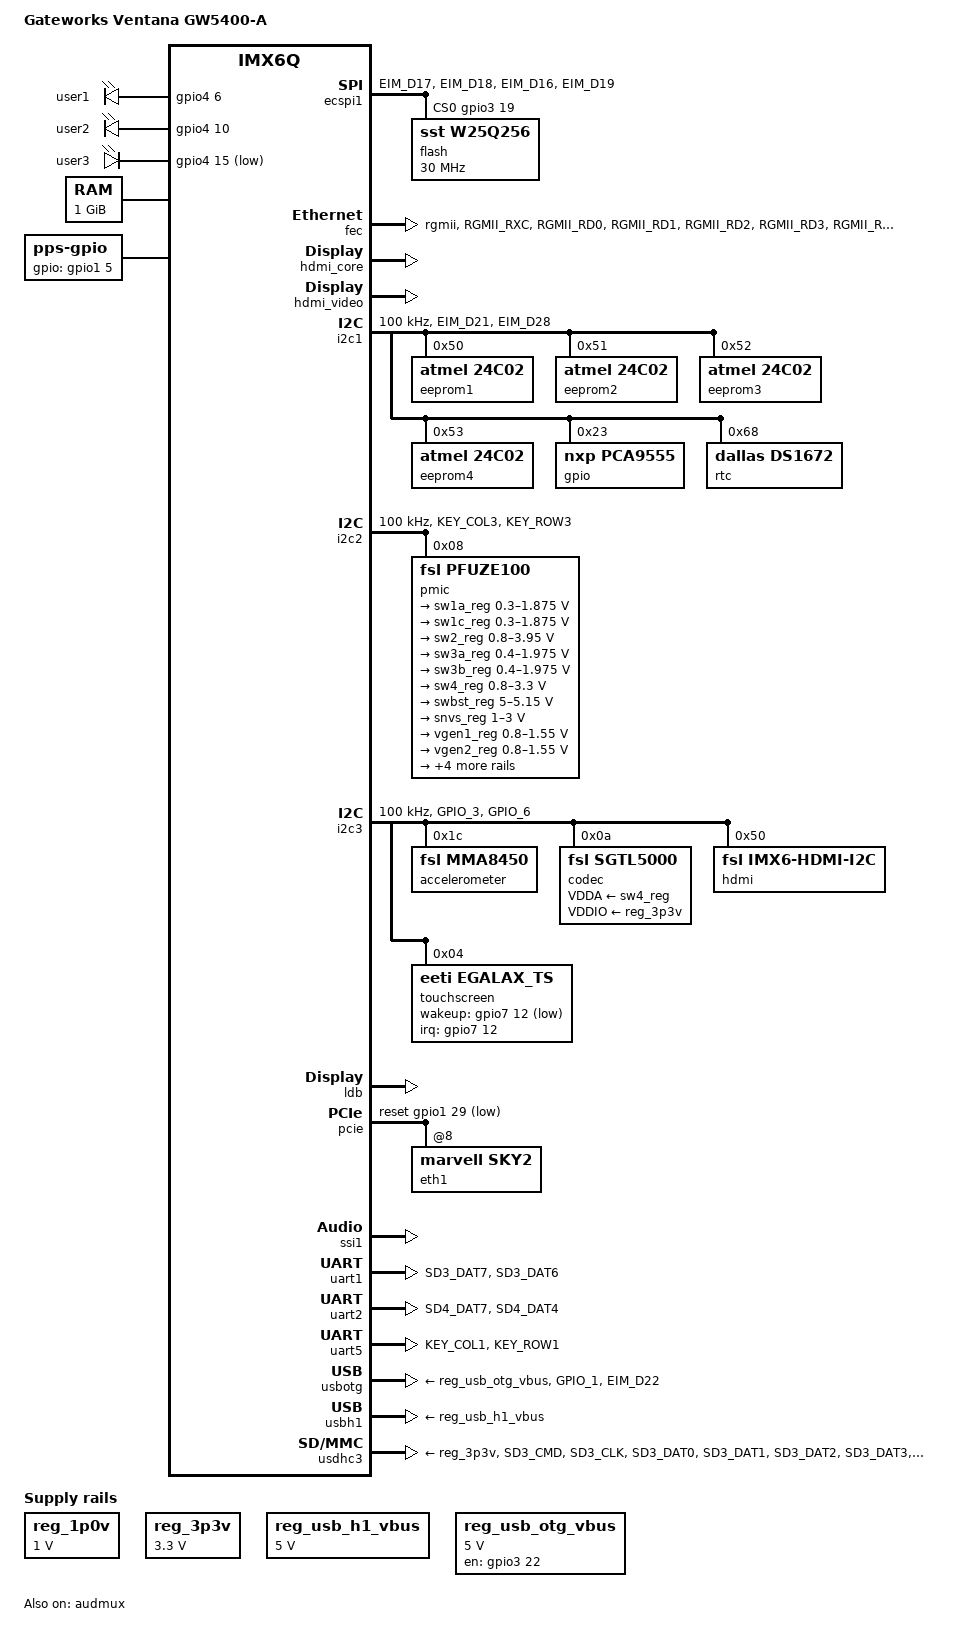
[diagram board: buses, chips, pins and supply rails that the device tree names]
/*
 * Copyright 2013 Gateworks Corporation
 *
 * Copyright 2015 Freescale Semiconductor, Inc. All Rights Reserved.
 *
 * The code contained herein is licensed under the GNU General Public
 * License. You may obtain a copy of the GNU General Public License
 * Version 2 or later at the following locations:
 *
 * http://www.opensource.org/licenses/gpl-license.html
 * http://www.gnu.org/copyleft/gpl.html
 */

/dts-v1/;
#include <dt-bindings/gpio/gpio.h>
#include "imx6q.dtsi"

/ {
	model = "Gateworks Ventana GW5400-A";
	compatible = "gw,imx6q-gw5400-a", "gw,ventana", "fsl,imx6q";

	/* these are used by bootloader for disabling nodes */
	aliases {
		ethernet1 = &eth1;
		i2c0 = &i2c1;
		i2c1 = &i2c2;
		i2c2 = &i2c3;
		led0 = &led0;
		led1 = &led1;
		led2 = &led2;
		ssi0 = &ssi1;
		spi0 = &ecspi1;
		usb0 = &usbh1;
		usb1 = &usbotg;
		mxcfb0 = &mxcfb1;
	};

	chosen {
		bootargs = "console=ttymxc1,115200";
	};

	leds {
		compatible = "gpio-leds";
		pinctrl-names = "default";
		pinctrl-0 = <&pinctrl_gpio_leds>;

		led0: user1 {
			label = "user1";
			gpios = <&gpio4 6 GPIO_ACTIVE_HIGH>; /* 102 -> MX6_PANLEDG */
			default-state = "on";
			linux,default-trigger = "heartbeat";
		};

		led1: user2 {
			label = "user2";
			gpios = <&gpio4 10 GPIO_ACTIVE_HIGH>; /* 106 -> MX6_PANLEDR */
			default-state = "off";
		};

		led2: user3 {
			label = "user3";
			gpios = <&gpio4 15 GPIO_ACTIVE_LOW>; /* 111 -> MX6_LOCLED# */
			default-state = "off";
		};
	};

	memory {
		reg = <0x10000000 0x40000000>;
	};

	pps {
		compatible = "pps-gpio";
		pinctrl-names = "default";
		pinctrl-0 = <&pinctrl_gpio_leds>;
		gpios = <&gpio1 5 GPIO_ACTIVE_HIGH>;
		status = "okay";
	};

	regulators {
		compatible = "simple-bus";
		#address-cells = <1>;
		#size-cells = <0>;

		reg_1p0v: regulator@0 {
			compatible = "regulator-fixed";
			reg = <0>;
			regulator-name = "1P0V";
			regulator-min-microvolt = <1000000>;
			regulator-max-microvolt = <1000000>;
			regulator-always-on;
		};

		reg_3p3v: regulator@1 {
			compatible = "regulator-fixed";
			reg = <1>;
			regulator-name = "3P3V";
			regulator-min-microvolt = <3300000>;
			regulator-max-microvolt = <3300000>;
			regulator-always-on;
		};

		reg_usb_h1_vbus: regulator@2 {
			compatible = "regulator-fixed";
			reg = <2>;
			regulator-name = "usb_h1_vbus";
			regulator-min-microvolt = <5000000>;
			regulator-max-microvolt = <5000000>;
			regulator-always-on;
		};

		reg_usb_otg_vbus: regulator@3 {
			compatible = "regulator-fixed";
			reg = <3>;
			regulator-name = "usb_otg_vbus";
			regulator-min-microvolt = <5000000>;
			regulator-max-microvolt = <5000000>;
			gpio = <&gpio3 22 GPIO_ACTIVE_HIGH>;
			enable-active-high;
		};
	};

	sound {
		compatible = "fsl,imx6q-ventana-sgtl5000",
			     "fsl,imx-audio-sgtl5000";
		model = "sgtl5000-audio";
		ssi-controller = <&ssi1>;
		audio-codec = <&codec>;
		audio-routing =
			"MIC_IN", "Mic Jack",
			"Mic Jack", "Mic Bias",
			"Headphone Jack", "HP_OUT";
		mux-int-port = <1>;
		mux-ext-port = <4>;
	};

	mxcfb1: fb@0 {
		compatible = "fsl,mxc_sdc_fb";
		disp_dev = "hdmi";
		interface_pix_fmt = "RGB24";
		mode_str ="1920x1080M@60";
		default_bpp = <24>;
		int_clk = <0>;
		late_init = <0>;
		status = "okay";
	};
};

&audmux {
	pinctrl-names = "default";
	pinctrl-0 = <&pinctrl_audmux>;
	status = "okay";
};

&ecspi1 {
	fsl,spi-num-chipselects = <1>;
	cs-gpios = <&gpio3 19 GPIO_ACTIVE_HIGH>;
	pinctrl-names = "default";
	pinctrl-0 = <&pinctrl_ecspi1>;
	status = "okay";

	flash: m25p80@0 {
		compatible = "sst,w25q256";
		spi-max-frequency = <30000000>;
		reg = <0>;
	};
};

&fec {
	pinctrl-names = "default";
	pinctrl-0 = <&pinctrl_enet>;
	phy-mode = "rgmii";
	phy-reset-gpios = <&gpio1 30 GPIO_ACTIVE_HIGH>;
	status = "okay";
};

&hdmi_core {
	ipu_id = <0>;
	disp_id = <0>;
	status = "okay";
};

&hdmi_video {
	fsl,phy_reg_vlev = <0x0294>;
	fsl,phy_reg_cksymtx = <0x800d>;
	status = "okay";
};

&i2c1 {
	clock-frequency = <100000>;
	pinctrl-names = "default";
	pinctrl-0 = <&pinctrl_i2c1>;
	status = "okay";

	eeprom1: eeprom@50 {
		compatible = "atmel,24c02";
		reg = <0x50>;
		pagesize = <16>;
	};

	eeprom2: eeprom@51 {
		compatible = "atmel,24c02";
		reg = <0x51>;
		pagesize = <16>;
	};

	eeprom3: eeprom@52 {
		compatible = "atmel,24c02";
		reg = <0x52>;
		pagesize = <16>;
	};

	eeprom4: eeprom@53 {
		compatible = "atmel,24c02";
		reg = <0x53>;
		pagesize = <16>;
	};

	gpio: pca9555@23 {
		compatible = "nxp,pca9555";
		reg = <0x23>;
		gpio-controller;
		#gpio-cells = <2>;
	};

	rtc: ds1672@68 {
		compatible = "dallas,ds1672";
		reg = <0x68>;
	};
};

&i2c2 {
	clock-frequency = <100000>;
	pinctrl-names = "default";
	pinctrl-0 = <&pinctrl_i2c2>;
	status = "okay";

	pmic: pfuze100@08 {
		compatible = "fsl,pfuze100";
		reg = <0x08>;

		regulators {
			sw1a_reg: sw1ab {
				regulator-min-microvolt = <300000>;
				regulator-max-microvolt = <1875000>;
				regulator-boot-on;
				regulator-always-on;
				regulator-ramp-delay = <6250>;
			};

			sw1c_reg: sw1c {
				regulator-min-microvolt = <300000>;
				regulator-max-microvolt = <1875000>;
				regulator-boot-on;
				regulator-always-on;
				regulator-ramp-delay = <6250>;
			};

			sw2_reg: sw2 {
				regulator-min-microvolt = <800000>;
				regulator-max-microvolt = <3950000>;
				regulator-boot-on;
				regulator-always-on;
			};

			sw3a_reg: sw3a {
				regulator-min-microvolt = <400000>;
				regulator-max-microvolt = <1975000>;
				regulator-boot-on;
				regulator-always-on;
			};

			sw3b_reg: sw3b {
				regulator-min-microvolt = <400000>;
				regulator-max-microvolt = <1975000>;
				regulator-boot-on;
				regulator-always-on;
			};

			sw4_reg: sw4 {
				regulator-min-microvolt = <800000>;
				regulator-max-microvolt = <3300000>;
			};

			swbst_reg: swbst {
				regulator-min-microvolt = <5000000>;
				regulator-max-microvolt = <5150000>;
			};

			snvs_reg: vsnvs {
				regulator-min-microvolt = <1000000>;
				regulator-max-microvolt = <3000000>;
				regulator-boot-on;
				regulator-always-on;
			};

			vref_reg: vrefddr {
				regulator-boot-on;
				regulator-always-on;
			};

			vgen1_reg: vgen1 {
				regulator-min-microvolt = <800000>;
				regulator-max-microvolt = <1550000>;
			};

			vgen2_reg: vgen2 {
				regulator-min-microvolt = <800000>;
				regulator-max-microvolt = <1550000>;
			};

			vgen3_reg: vgen3 {
				regulator-min-microvolt = <1800000>;
				regulator-max-microvolt = <3300000>;
			};

			vgen4_reg: vgen4 {
				regulator-min-microvolt = <1800000>;
				regulator-max-microvolt = <3300000>;
				regulator-always-on;
			};

			vgen5_reg: vgen5 {
				regulator-min-microvolt = <1800000>;
				regulator-max-microvolt = <3300000>;
				regulator-always-on;
			};

			vgen6_reg: vgen6 {
				regulator-min-microvolt = <1800000>;
				regulator-max-microvolt = <3300000>;
				regulator-always-on;
			};
		};
	};
};

&i2c3 {
	clock-frequency = <100000>;
	pinctrl-names = "default";
	pinctrl-0 = <&pinctrl_i2c3>;
	status = "okay";

	accelerometer: mma8450@1c {
		compatible = "fsl,mma8450";
		reg = <0x1c>;
	};

	codec: sgtl5000@0a {
		compatible = "fsl,sgtl5000";
		reg = <0x0a>;
		clocks = <&clks 201>;
		VDDA-supply = <&sw4_reg>;
		VDDIO-supply = <&reg_3p3v>;
	};

	hdmi: edid@50 {
		compatible = "fsl,imx6-hdmi-i2c";
		reg = <0x50>;
	};

	touchscreen: egalax_ts@04 {
		compatible = "eeti,egalax_ts";
		reg = <0x04>;
		interrupt-parent = <&gpio7>;
		interrupts = <12 2>;
		wakeup-gpios = <&gpio7 12 GPIO_ACTIVE_LOW>;
	};
};

&ldb {
	status = "okay";
};

&pcie {
	reset-gpio = <&gpio1 29 GPIO_ACTIVE_LOW>;
	status = "okay";

	eth1: sky2@8 { /* MAC/PHY on bus 8 */
		compatible = "marvell,sky2";
	};
};

&ssi1 {
	status = "okay";
};

&uart1 {
	pinctrl-names = "default";
	pinctrl-0 = <&pinctrl_uart1>;
	status = "okay";
};

&uart2 {
	pinctrl-names = "default";
	pinctrl-0 = <&pinctrl_uart2>;
	status = "okay";
};

&uart5 {
	pinctrl-names = "default";
	pinctrl-0 = <&pinctrl_uart5>;
	status = "okay";
};

&usbotg {
	vbus-supply = <&reg_usb_otg_vbus>;
	pinctrl-names = "default";
	pinctrl-0 = <&pinctrl_usbotg>;
	disable-over-current;
	status = "okay";
};

&usbh1 {
	vbus-supply = <&reg_usb_h1_vbus>;
	status = "okay";
};

&usdhc3 {
	pinctrl-names = "default";
	pinctrl-0 = <&pinctrl_usdhc3>;
	cd-gpios = <&gpio7 0 GPIO_ACTIVE_LOW>;
	vmmc-supply = <&reg_3p3v>;
	status = "okay";
};

&iomuxc {
	imx6q-gw5400-a {

		pinctrl_audmux: audmuxgrp {
			fsl,pins = <
				MX6QDL_PAD_SD2_DAT0__AUD4_RXD		0x130b0
				MX6QDL_PAD_SD2_DAT3__AUD4_TXC		0x130b0
				MX6QDL_PAD_SD2_DAT2__AUD4_TXD		0x110b0
				MX6QDL_PAD_SD2_DAT1__AUD4_TXFS		0x130b0
				MX6QDL_PAD_GPIO_0__CCM_CLKO1		0x130b0 /* AUD4_MCK */
			>;
		};

		pinctrl_ecspi1: ecspi1grp {
			fsl,pins = <
				MX6QDL_PAD_EIM_D17__ECSPI1_MISO		0x100b1
				MX6QDL_PAD_EIM_D18__ECSPI1_MOSI		0x100b1
				MX6QDL_PAD_EIM_D16__ECSPI1_SCLK		0x100b1
				MX6QDL_PAD_EIM_D19__GPIO3_IO19		0x1b0b0 /* SPINOR_CS0# */
			>;
		};

		pinctrl_enet: enetgrp {
			fsl,pins = <
				MX6QDL_PAD_RGMII_RXC__RGMII_RXC		0x1b0b0
				MX6QDL_PAD_RGMII_RD0__RGMII_RD0		0x1b0b0
				MX6QDL_PAD_RGMII_RD1__RGMII_RD1		0x1b0b0
				MX6QDL_PAD_RGMII_RD2__RGMII_RD2		0x1b0b0
				MX6QDL_PAD_RGMII_RD3__RGMII_RD3		0x1b0b0
				MX6QDL_PAD_RGMII_RX_CTL__RGMII_RX_CTL	0x1b0b0
				MX6QDL_PAD_RGMII_TXC__RGMII_TXC		0x1b0b0
				MX6QDL_PAD_RGMII_TD0__RGMII_TD0		0x1b0b0
				MX6QDL_PAD_RGMII_TD1__RGMII_TD1		0x1b0b0
				MX6QDL_PAD_RGMII_TD2__RGMII_TD2		0x1b0b0
				MX6QDL_PAD_RGMII_TD3__RGMII_TD3		0x1b0b0
				MX6QDL_PAD_RGMII_TX_CTL__RGMII_TX_CTL	0x1b0b0
				MX6QDL_PAD_ENET_REF_CLK__ENET_TX_CLK	0x1b0b0
				MX6QDL_PAD_ENET_MDIO__ENET_MDIO		0x1b0b0
				MX6QDL_PAD_ENET_MDC__ENET_MDC		0x1b0b0
				MX6QDL_PAD_GPIO_16__ENET_REF_CLK	0x4001b0a8
			>;
		};

		pinctrl_gpio_leds: gpioledsgrp {
			fsl,pins = <
				MX6QDL_PAD_KEY_COL0__GPIO4_IO06		0x1b0b0 /* user1 led */
				MX6QDL_PAD_KEY_COL2__GPIO4_IO10		0x1b0b0 /* user2 led */
				MX6QDL_PAD_KEY_ROW4__GPIO4_IO15		0x1b0b0 /* user3 led */
			>;
		};

		pinctrl_i2c1: i2c1grp {
			fsl,pins = <
				MX6QDL_PAD_EIM_D21__I2C1_SCL		0x4001b8b1
				MX6QDL_PAD_EIM_D28__I2C1_SDA		0x4001b8b1
			>;
		};

		pinctrl_i2c2: i2c2grp {
			fsl,pins = <
				MX6QDL_PAD_KEY_COL3__I2C2_SCL		0x4001b8b1
				MX6QDL_PAD_KEY_ROW3__I2C2_SDA		0x4001b8b1
			>;
		};

		pinctrl_i2c3: i2c3grp {
			fsl,pins = <
				MX6QDL_PAD_GPIO_3__I2C3_SCL		0x4001b8b1
				MX6QDL_PAD_GPIO_6__I2C3_SDA		0x4001b8b1
			>;
		};

		pinctrl_pcie: pciegrp {
			fsl,pins = <
				MX6QDL_PAD_ENET_TX_EN__GPIO1_IO28	0x1b0b0 /* PCIE IRQ */
				MX6QDL_PAD_ENET_TXD1__GPIO1_IO29	0x1b0b0 /* PCIE RST */
			>;
		};

		pinctrl_pps: ppsgrp {
			fsl,pins = <
				MX6QDL_PAD_GPIO_5__GPIO1_IO05		0x1b0b0 /* GPS_PPS */
			>;
		};

		pinctrl_uart1: uart1grp {
			fsl,pins = <
				MX6QDL_PAD_SD3_DAT7__UART1_TX_DATA	0x1b0b1
				MX6QDL_PAD_SD3_DAT6__UART1_RX_DATA	0x1b0b1
			>;
		};

		pinctrl_uart2: uart2grp {
			fsl,pins = <
				MX6QDL_PAD_SD4_DAT7__UART2_TX_DATA	0x1b0b1
				MX6QDL_PAD_SD4_DAT4__UART2_RX_DATA	0x1b0b1
			>;
		};

		pinctrl_uart5: uart5grp {
			fsl,pins = <
				MX6QDL_PAD_KEY_COL1__UART5_TX_DATA	0x1b0b1
				MX6QDL_PAD_KEY_ROW1__UART5_RX_DATA	0x1b0b1
			>;
		};

		pinctrl_usbotg: usbotggrp {
			fsl,pins = <
				MX6QDL_PAD_GPIO_1__USB_OTG_ID		0x17059
				MX6QDL_PAD_EIM_D22__GPIO3_IO22		0x1b0b0 /* OTG_PWR_EN */
			>;
		};

		pinctrl_usdhc3: usdhc3grp {
			fsl,pins = <
				MX6QDL_PAD_SD3_CMD__SD3_CMD		0x17059
				MX6QDL_PAD_SD3_CLK__SD3_CLK		0x10059
				MX6QDL_PAD_SD3_DAT0__SD3_DATA0		0x17059
				MX6QDL_PAD_SD3_DAT1__SD3_DATA1		0x17059
				MX6QDL_PAD_SD3_DAT2__SD3_DATA2		0x17059
				MX6QDL_PAD_SD3_DAT3__SD3_DATA3		0x17059
			>;
		};
	};
};
